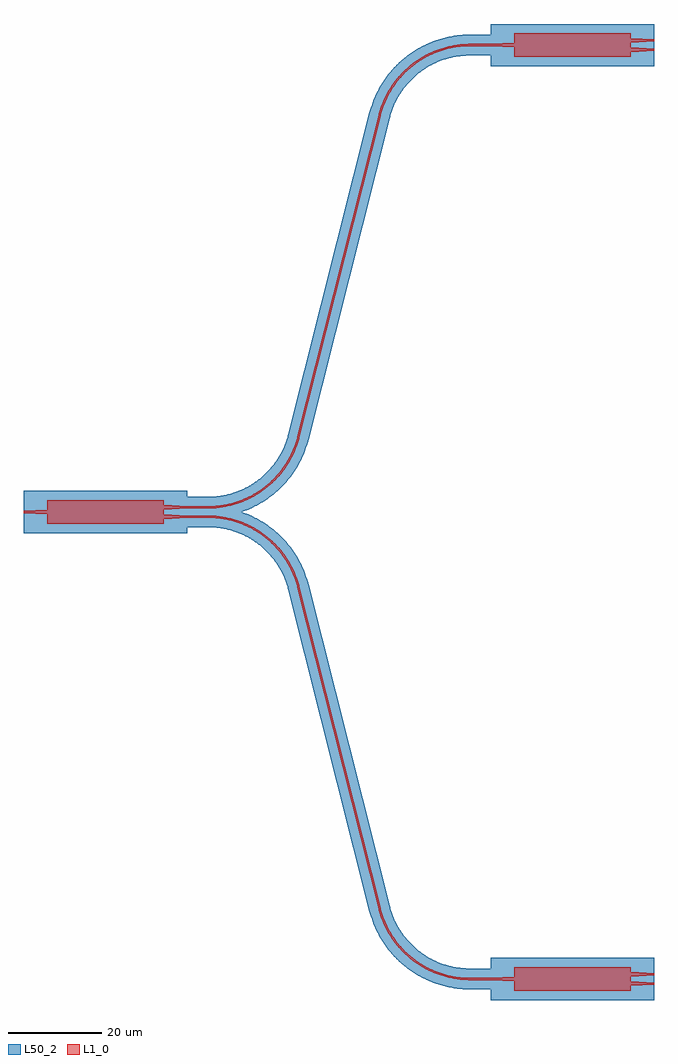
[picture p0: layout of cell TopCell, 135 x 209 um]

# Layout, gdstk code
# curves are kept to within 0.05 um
import gdstk
lib = gdstk.Library(unit=1e-6, precision=1e-09)
def R(c, l, rs):  # rectangles x0, y0, x1, y1
    for r in rs: c.add(gdstk.rectangle(r[:2], r[2:], *l))
def P(c, l, *ps):  # polygons
    for p in ps: c.add(gdstk.Polygon(p, *l))
L1_0 = (1, 0)
L50_2 = (50, 2)

topcell_mmi = lib.new_cell('TopCell_MMI')
R(topcell_mmi, L1_0, [(0,-2.5,25,2.5)])
P(topcell_mmi, L1_0, [(0,0.5),(0,-0.5),(-5,-0.225),(-5,0.225)],
  [(25,-1.5),(25,-0.5),(30,-0.775),(30,-1.225)],
  [(25,0.5),(25,1.5),(30,1.225),(30,0.775)])
R(topcell_mmi, L50_2, [(-5,-4.5,30,4.5)])

topcell_connector_0 = lib.new_cell('TopCell_connector_0')
P(topcell_connector_0, L1_0, [(30,-1.225),(35.111,-1.237),(37.509,-1.467),(38.861,-1.73),(40.192,-2.085),(41.815,-2.659),(43.073,-3.217),(44.587,-4.037),(46.023,-4.985),(47.11,-5.831),(48.381,-6.992),(49.546,-8.259),(50.597,-9.622),(51.525,-11.072),(52.174,-12.286),(52.986,-14.185),(53.596,-16.159),(71.057,-85.293),(71.591,-86.97),(72.122,-88.274),(72.743,-89.539),(73.64,-91.054),(74.665,-92.485),(75.573,-93.562),(76.553,-94.573),(77.601,-95.514),(78.713,-96.379),(80.182,-97.349),(81.415,-98.03),(82.692,-98.624),(84.007,-99.128),(85.354,-99.539),(86.727,-99.855),(88.118,-100.075),(90.225,-100.222),(95,-100.225),(95,-99.775),(89.545,-99.748),(88.173,-99.628),(86.475,-99.345),(85.139,-99.012),(83.829,-98.588),(82.551,-98.073),(81.313,-97.471),(79.829,-96.599),(78.7,-95.81),(77.37,-94.718),(76.377,-93.763),(75.234,-92.476),(74.403,-91.378),(73.475,-89.928),(72.826,-88.714),(72.014,-86.815),(71.404,-84.841),(53.943,-15.707),(53.409,-14.03),(52.878,-12.726),(52.257,-11.461),(51.36,-9.946),(50.335,-8.515),(49.427,-7.438),(48.447,-6.427),(47.399,-5.486),(46.287,-4.621),(44.818,-3.651),(43.27,-2.813),(41.983,-2.241),(40.659,-1.76),(39.305,-1.373),(37.927,-1.081),(36.181,-0.852),(34.775,-0.778),(30,-0.775)])
P(topcell_connector_0, L50_2, [(30,-3.225),(35.042,-3.236),(37.197,-3.443),(38.713,-3.751),(39.903,-4.091),(41.353,-4.632),(42.475,-5.154),(43.823,-5.914),(44.85,-6.605),(46.062,-7.566),(47.186,-8.629),(48.214,-9.786),(48.961,-10.773),(49.795,-12.076),(50.513,-13.447),(51.109,-14.874),(51.659,-16.657),(69.127,-85.816),(69.584,-87.295),(70.297,-89.093),(70.979,-90.482),(71.965,-92.147),(72.856,-93.413),(74.089,-94.903),(75.166,-96.014),(76.318,-97.048),(77.539,-97.999),(78.824,-98.863),(80.165,-99.635),(81.557,-100.312),(82.992,-100.891),(84.465,-101.368),(85.967,-101.742),(87.491,-102.01),(89.803,-102.212),(95,-102.225),(95,-97.775),(89.958,-97.764),(87.803,-97.557),(86.287,-97.249),(85.097,-96.909),(83.647,-96.368),(82.525,-95.846),(81.177,-95.086),(79.901,-94.211),(78.706,-93.229),(77.6,-92.147),(76.593,-90.972),(75.692,-89.715),(75.052,-88.655),(74.358,-87.272),(73.787,-85.834),(73.341,-84.343),(55.873,-15.184),(55.416,-13.705),(54.703,-11.907),(54.021,-10.518),(53.035,-8.853),(51.908,-7.281),(50.649,-5.812),(49.267,-4.459),(47.461,-3.001),(45.846,-1.935),(43.795,-0.848),(41.643,0.02),(39.787,0.568),(37.892,0.953),(35.97,1.171),(30,1.225)])

topcell_connector_1 = lib.new_cell('TopCell_connector_1')
P(topcell_connector_1, L1_0, [(30,0.775),(34.775,0.778),(36.882,0.925),(38.273,1.145),(39.646,1.461),(40.993,1.872),(42.308,2.376),(43.585,2.97),(44.818,3.651),(46.287,4.621),(47.399,5.486),(48.447,6.427),(49.427,7.438),(50.335,8.515),(51.36,9.946),(52.257,11.461),(52.878,12.726),(53.409,14.03),(53.943,15.707),(71.404,84.841),(72.014,86.815),(72.826,88.714),(73.475,89.928),(74.403,91.378),(75.234,92.476),(76.377,93.763),(77.37,94.718),(78.7,95.81),(79.829,96.599),(81.313,97.471),(82.551,98.073),(83.829,98.588),(85.139,99.012),(86.475,99.345),(88.173,99.628),(89.545,99.748),(95,99.775),(95,100.225),(90.225,100.222),(88.118,100.075),(86.727,99.855),(85.354,99.539),(84.007,99.128),(82.692,98.624),(81.415,98.03),(80.182,97.349),(78.713,96.379),(77.601,95.514),(76.553,94.573),(75.573,93.562),(74.665,92.485),(73.64,91.054),(72.743,89.539),(72.122,88.274),(71.591,86.97),(71.057,85.293),(53.596,16.159),(52.986,14.185),(52.174,12.286),(51.525,11.072),(50.597,9.622),(49.766,8.524),(48.623,7.237),(47.63,6.282),(46.3,5.19),(45.171,4.401),(43.687,3.529),(42.449,2.927),(41.171,2.412),(39.861,1.988),(38.525,1.655),(36.827,1.372),(35.455,1.252),(30,1.225)])
P(topcell_connector_1, L50_2, [(30,-1.225),(35.197,-1.212),(37.509,-1.01),(39.033,-0.742),(40.535,-0.368),(42.008,0.109),(43.443,0.688),(44.835,1.365),(46.176,2.137),(47.461,3.001),(48.976,4.203),(50.382,5.532),(51.42,6.68),(52.375,7.898),(53.244,9.179),(54.021,10.518),(54.703,11.907),(55.416,13.705),(55.873,15.184),(73.341,84.343),(73.787,85.834),(74.358,87.272),(75.052,88.655),(75.692,89.715),(76.593,90.972),(77.6,92.147),(78.706,93.229),(79.901,94.211),(81.177,95.086),(82.525,95.846),(83.647,96.368),(85.097,96.909),(86.287,97.249),(87.803,97.557),(89.958,97.764),(95,97.775),(95,102.225),(89.803,102.212),(87.491,102.01),(85.967,101.742),(84.465,101.368),(82.992,100.891),(81.557,100.312),(80.165,99.635),(78.824,98.863),(77.539,97.999),(76.024,96.797),(74.618,95.468),(73.58,94.32),(72.625,93.102),(71.756,91.821),(70.979,90.482),(70.297,89.093),(69.584,87.295),(69.127,85.816),(51.659,16.657),(51.213,15.166),(50.642,13.728),(49.948,12.345),(49.308,11.285),(48.407,10.028),(47.4,8.853),(46.294,7.771),(45.099,6.789),(43.823,5.914),(42.475,5.154),(41.353,4.632),(39.903,4.091),(38.713,3.751),(37.197,3.443),(35.042,3.236),(30,3.225)])

topcell = lib.new_cell('TopCell')
topcell.add(gdstk.Reference(topcell_mmi, (100,100)))
topcell.add(gdstk.Reference(topcell_mmi, (100,-100)))
topcell.add(gdstk.Reference(topcell_mmi, (0,0)))
topcell.add(gdstk.Reference(topcell_connector_0, (0,0)))
topcell.add(gdstk.Reference(topcell_connector_1, (0,0)))

lib.write_gds('TopCell.gds')
